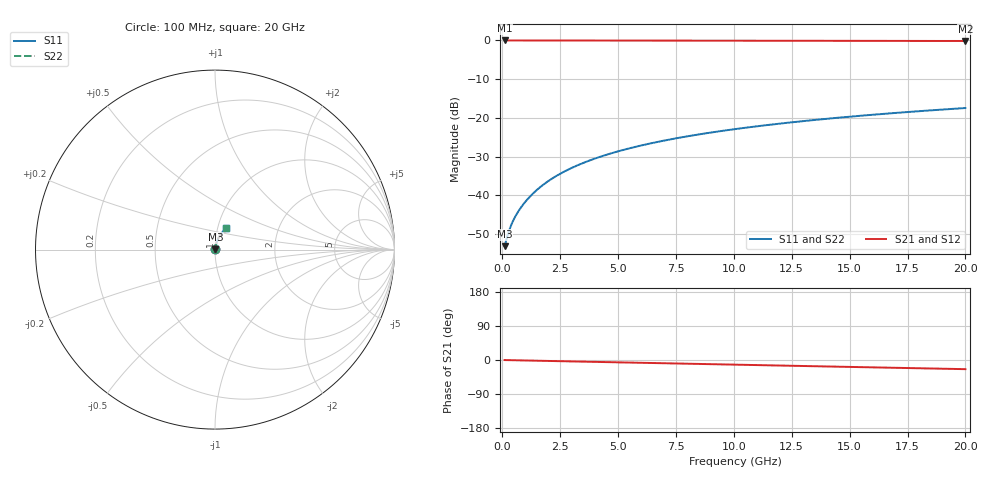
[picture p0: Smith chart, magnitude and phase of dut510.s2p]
! Touchstone file exported from HFSS 2026.1.0
!  File:  C:/ffzhzh/LocalFiles/Ansys_Project_Files/temp_train_BSMRDL_510_1783014359_53980.aedt
!  Generated:  01:47:21 AM Jul  3, 2026
!  Design:  BSMRDL
!  Project:  temp_train_BSMRDL_510_1783014359_53980
! Variables:
!  h_bsmrdl = 3.22um
!  h_ox = 20um
!  h_rdl = 5um
!  h_sub = 80um
!  h_tmrdl = 5um
!  h_tsv = 80um
!  h_via = 3um
!  l_bsmrdl = 387.52um
!  l_sub = 787.52um
!  l_tmrdl = 200um
!  m_sub = 200um
!  pitch = 35.7um
!  r_tsv = 6um
!  s_tmrdl = 10um
!  w_bsmrdl = 25.05um
!  w_sub = 500um
!  w_tmrdl = 12um
!  x_tsv_center1 = 206um
!  x_tsv_center2 = 618.57um
!  x_tsv_center3 = 830.57um
!  x_tsv_center4 = 1243.14um
!  x_tsv_center5 = 1455.14um
!  x_tsv_center6 = 1867.71um
# GHz S MA R 50.000000
! Terminal data exported
! Port[1] = BSM_RDL1_1_T1
! Port[2] = BSM_RDL1_1_T2
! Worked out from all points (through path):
!   200 points, 100 MHz to 20 GHz, reference 50 ohm
!   highest |S21| = -0.02 dB at 100 MHz (marker M1); lowest = -0.2 dB at 20 GHz (marker M2)
!   group delay of S21, straight-line fit = 3.35 ps
!   lowest |S11| = -53.1 dB at 100 MHz (marker M3), VSWR 1.00, Z = 50.2 + j0.0983 ohm
!   |S11| at or under -10 dB: start of sweep to end of sweep
!   |S22| runs from -53.1 to -17.5 dB; largest |S21 - S12| = 2.2e-15
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0.1  0.00221 26.3  0.998 -0.1  0.998 -0.1  0.00221 26.3
! Gamma 0 0 0 0
! Port Impedance 50 0 50 0
0.2  0.002846 41.5  0.9979 -0.3  0.9979 -0.3  0.002846 41.5
0.3  0.003553 49.5  0.9977 -0.4  0.9977 -0.4  0.003553 49.5
0.4  0.004247 54.6  0.9976 -0.5  0.9976 -0.5  0.004247 54.6
0.5  0.004924 58.3  0.9975 -0.7  0.9975 -0.7  0.004924 58.3
0.6  0.005593 61.2  0.9974 -0.8  0.9974 -0.8  0.005593 61.2
0.8  0.006934 65.6  0.9972 -1.0  0.9972 -1.0  0.006934 65.6
1  0.008298 68.8  0.9971 -1.3  0.9971 -1.3  0.008298 68.8
1.2  0.009687 71.1  0.9971 -1.5  0.9971 -1.5  0.009687 71.1
1.7  0.01323 74.7  0.9969 -2.1  0.9969 -2.1  0.01323 74.7
2.2  0.01683 76.5  0.9967 -2.7  0.9967 -2.7  0.01683 76.5
2.8  0.02118 77.5  0.9965 -3.5  0.9965 -3.5  0.02118 77.5
3.5  0.02624 77.9  0.9961 -4.4  0.9961 -4.4  0.02624 77.9
4.2  0.03128 77.8  0.9957 -5.2  0.9957 -5.2  0.03128 77.9
5  0.037 77.5  0.9952 -6.2  0.9952 -6.2  0.03699 77.5
5.9  0.04335 76.8  0.9946 -7.3  0.9946 -7.3  0.04335 76.8
6.8  0.04962 76.0  0.9939 -8.4  0.9939 -8.4  0.04962 76.0
8.3  0.05991 74.5  0.9927 -10.2  0.9927 -10.2  0.05991 74.5
10.1  0.07198 72.7  0.9912 -12.4  0.9912 -12.4  0.07198 72.7
13.4  0.09344 69.2  0.9883 -16.3  0.9883 -16.3  0.09344 69.2
16.7  0.1141 65.6  0.9852 -20.3  0.9852 -20.3  0.1141 65.6
20  0.134 62.0  0.9819 -24.2  0.9819 -24.2  0.134 62.0
